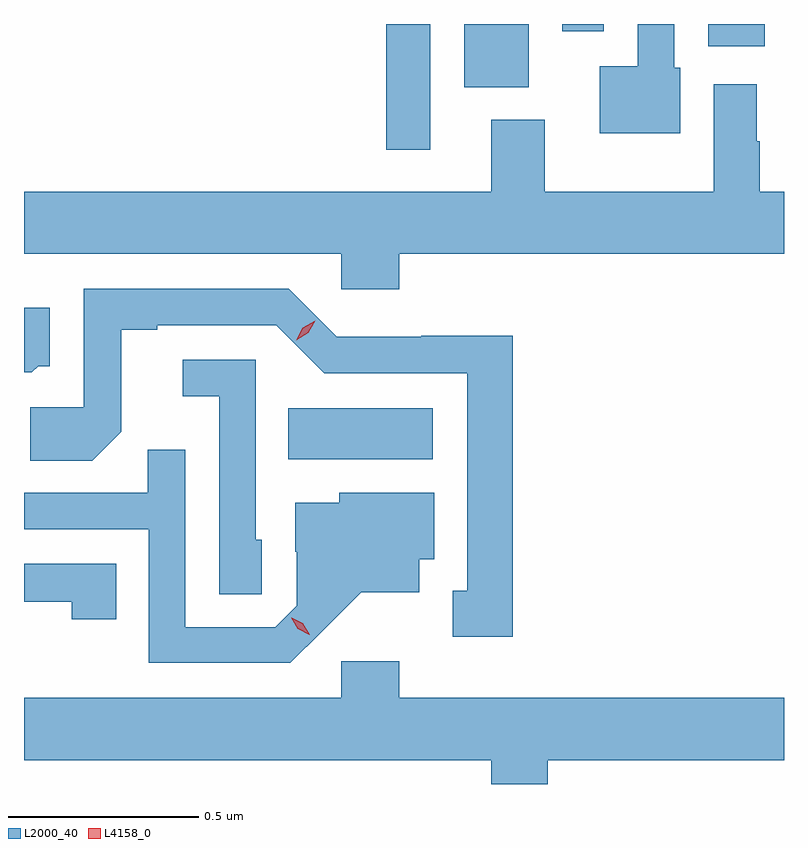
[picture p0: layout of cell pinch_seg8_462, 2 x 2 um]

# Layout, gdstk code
import gdstk
lib = gdstk.Library(unit=1e-6, precision=1e-09)
def R(c, l, rs):  # rectangles x0, y0, x1, y1
    for r in rs: c.add(gdstk.rectangle(r[:2], r[2:], *l))
def P(c, l, *ps):  # polygons
    for p in ps: c.add(gdstk.Polygon(p, *l))
L2000_40 = (2000, 40)
L4158_0 = (4158, 0)

pinch_seg8_462 = lib.new_cell('pinch_seg8_462')
R(pinch_seg8_462, L2000_40, [(231.274,1141.268,231.655,1141.402), (231.532,1142.082,231.648,1142.413), (231.737,1142.246,231.907,1142.413), (232.379,1142.355,232.528,1142.413), (231.995,1142.394,232.105,1142.413)])
P(pinch_seg8_462, L2000_40, [(232.306,1142.298),(232.29,1142.298),(232.29,1142.413),(232.194,1142.413),(232.194,1142.302),(232.094,1142.302),(232.094,1142.126),(232.306,1142.126)],
  [(231.566,1141.808),(232.579,1141.808),(232.579,1141.972),(232.515,1141.972),(232.515,1142.105),(232.507,1142.105),(232.507,1142.254),(232.394,1142.254),(232.394,1141.972),(231.949,1141.972),(231.949,1142.161),(231.809,1142.161),(231.809,1141.972),(230.579,1141.972),(230.579,1141.808),(231.414,1141.808),(231.414,1141.715),(231.566,1141.715)],
  [(231.865,1141.592),(231.624,1141.592),(231.624,1141.59),(231.402,1141.59),(231.276,1141.716),(230.736,1141.716),(230.736,1141.404),(230.595,1141.404),(230.595,1141.264),(230.759,1141.264),(230.835,1141.34),(230.835,1141.608),(230.929,1141.608),(230.929,1141.62),(231.243,1141.62),(231.369,1141.494),(231.746,1141.494),(231.746,1140.921),(231.707,1140.921),(231.707,1140.801),(231.865,1140.801)],
  [(230.616,1141.512),(230.647,1141.512),(230.647,1141.666),(230.579,1141.666),(230.579,1141.496),(230.6,1141.496)],
  [(231.204,1141.056),(231.189,1141.056),(231.189,1141.53),(230.997,1141.53),(230.997,1141.433),(231.093,1141.433),(231.093,1140.913),(231.204,1140.913)],
  [(231.364,1140.815),(231.467,1140.917),(231.619,1140.917),(231.619,1141.004),(231.658,1141.004),(231.658,1141.18),(231.408,1141.18),(231.408,1141.153),(231.293,1141.153),(231.293,1141.024),(231.297,1141.024),(231.297,1140.882),(231.24,1140.825),(231.003,1140.825),(231.003,1141.292),(230.905,1141.292),(230.905,1141.179),(230.579,1141.179),(230.579,1141.083),(230.907,1141.083),(230.907,1140.732),(231.28,1140.732)],
  [(230.822,1140.993),(230.579,1140.993),(230.579,1140.892),(230.704,1140.892),(230.704,1140.846),(230.822,1140.846)],
  [(231.957,1140.476),(232.579,1140.476),(232.579,1140.64),(231.566,1140.64),(231.566,1140.736),(231.414,1140.736),(231.414,1140.64),(230.579,1140.64),(230.579,1140.476),(231.809,1140.476),(231.809,1140.413),(231.957,1140.413)])
P(pinch_seg8_462, L4158_0, [(231.295,1141.581),(231.295,1141.581),(231.313,1141.614),(231.345,1141.632),(231.346,1141.632),(231.346,1141.632),(231.327,1141.6),(231.295,1141.581)],
  [(231.33,1140.806),(231.3,1140.822),(231.282,1140.851),(231.282,1140.851),(231.283,1140.851),(231.313,1140.836),(231.331,1140.806),(231.331,1140.806)])

lib.write_gds('pinch_seg8_462.gds')
